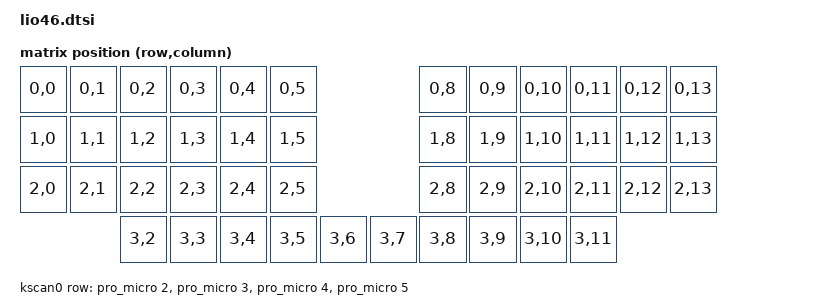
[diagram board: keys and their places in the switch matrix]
#include <dt-bindings/zmk/matrix_transform.h>

#include "lio46-layout.dtsi"

/ {
    chosen {
        zmk,kscan = &kscan0;
        zmk,physical-layout = &physical_layout0;
    };

    default_transform: keymap_transform_0 {
        compatible = "zmk,matrix-transform";
        columns = <14>;
        rows = <4>;
        map = <
            RC(0,0) RC(0,1) RC(0,2) RC(0,3) RC(0,4) RC(0,5)                          RC(0,8) RC(0,9) RC(0,10) RC(0,11) RC(0,12) RC(0,13)
            RC(1,0) RC(1,1) RC(1,2) RC(1,3) RC(1,4) RC(1,5)                          RC(1,8) RC(1,9) RC(1,10) RC(1,11) RC(1,12) RC(1,13)
            RC(2,0) RC(2,1) RC(2,2) RC(2,3) RC(2,4) RC(2,5)                          RC(2,8) RC(2,9) RC(2,10) RC(2,11) RC(2,12) RC(2,13)
                            RC(3,2) RC(3,3) RC(3,4) RC(3,5) RC(3,6)          RC(3,7) RC(3,8) RC(3,9) RC(3,10) RC(3,11)
        >;
    };

    kscan0: kscan {
        compatible = "zmk,kscan-gpio-matrix";
        diode-direction = "col2row";
        wakeup-source;

        row-gpios
            = <&pro_micro 2 (GPIO_ACTIVE_HIGH | GPIO_PULL_DOWN)> // 017
            , <&pro_micro 3 (GPIO_ACTIVE_HIGH | GPIO_PULL_DOWN)> // 020
            , <&pro_micro 4 (GPIO_ACTIVE_HIGH | GPIO_PULL_DOWN)> // 022
            , <&pro_micro 5 (GPIO_ACTIVE_HIGH | GPIO_PULL_DOWN)> // 024
            ;

    };
};
